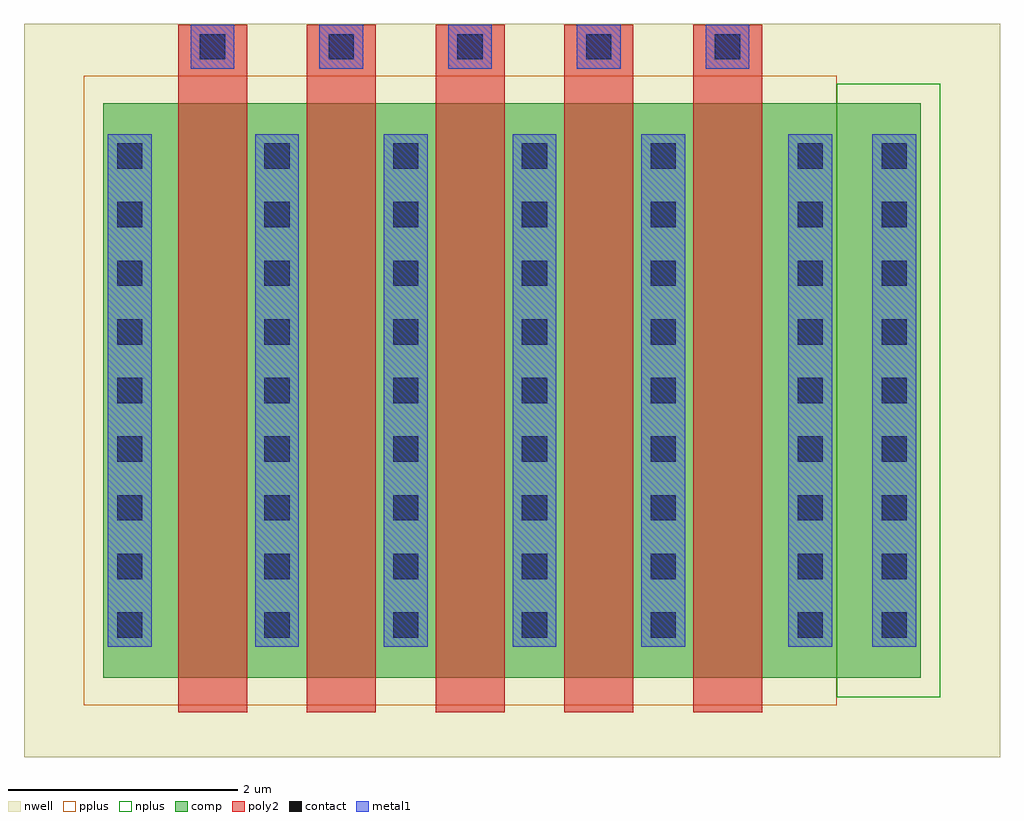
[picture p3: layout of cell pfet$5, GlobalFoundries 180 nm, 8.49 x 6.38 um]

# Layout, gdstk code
import gdstk
lib = gdstk.Library(unit=1e-6, precision=1e-09)
def R(c, l, rs):  # rectangles x0, y0, x1, y1
    for r in rs: c.add(gdstk.rectangle(r[:2], r[2:], *l))
def A(c, l, x, y, w, h, nx, ny, dx, dy):  # array of equal rectangles
    R(c, l, [(x+i*dx, y+j*dy, x+i*dx+w, y+j*dy+h) for i in range(nx) for j in range(ny)])
nwell = (21, 0)
comp = (22, 0)
poly2 = (30, 0)
pplus = (31, 0)
nplus = (32, 0)
contact = (33, 0)
metal1 = (34, 0)

pfet_5 = lib.new_cell('pfet$5')
R(pfet_5, nwell, [(-1.15,-0.69,7.34,5.69)])
R(pfet_5, comp, [(-0.46,0,0,5), (0,0,5.46,5), (5.46,0,5.92,5), (5.92,0,6.65,5)])
A(pfet_5, poly2, 0.19, -0.3, 0.6, 5.6, 5, 1, 1.12, 0)
A(pfet_5, poly2, 0.19, 5.3, 0.6, 0.38, 5, 1, 1.12, 0)
R(pfet_5, pplus, [(-0.63,-0.24,5.92,5.24)])
R(pfet_5, nplus, [(5.92,-0.17,6.82,5.17)])
A(pfet_5, contact, -0.34, 0.35, 0.22, 0.22, 1, 9, 0, 0.51)
A(pfet_5, contact, 0.94, 0.35, 0.22, 0.22, 4, 9, 1.12, 0.51)
A(pfet_5, contact, 5.58, 0.35, 0.22, 0.22, 1, 9, 0, 0.51)
A(pfet_5, contact, 6.31, 0.35, 0.22, 0.22, 1, 9, 0, 0.51)
A(pfet_5, contact, 0.38, 5.38, 0.22, 0.22, 5, 1, 1.12, 0)
A(pfet_5, metal1, 0.86, 0.27, 0.38, 4.46, 4, 1, 1.12, 0)
A(pfet_5, metal1, 0.3, 5.299, 0.38, 0.382, 5, 1, 1.12, 0)
R(pfet_5, metal1, [(-0.42,0.27,-0.04,4.73), (5.5,0.27,5.88,4.73), (6.23,0.27,6.61,4.73)])

lib.write_gds('pfet_5.gds')
